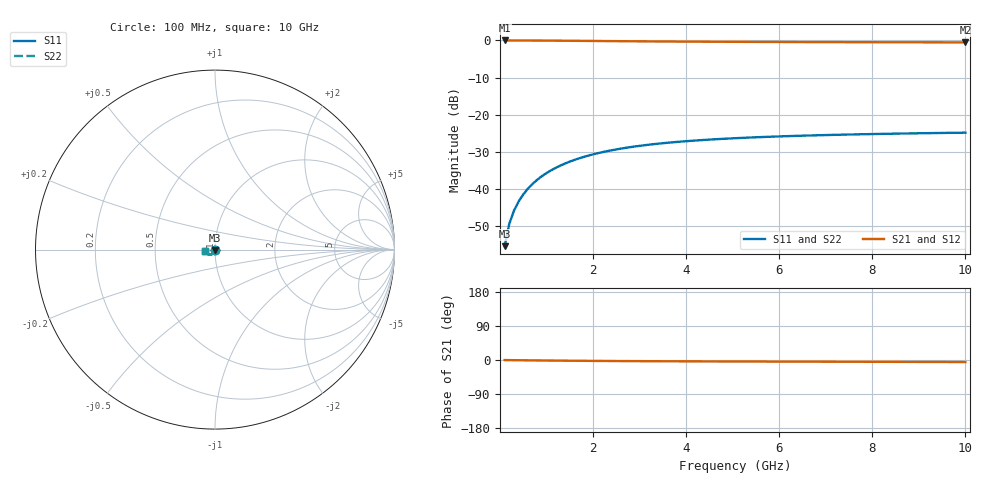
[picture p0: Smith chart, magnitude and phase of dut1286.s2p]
! Touchstone file exported from HFSS 2024.1.0
!  File:  C:/UserFiles/LocalFiles/RDL_TSV_Batchsim/temp_TSV1_1286_1780255668.aedt
!  Generated:  03:32:35 AM Jun  1, 2026
!  Design:  TSV1
!  Project:  temp_TSV1_1286_1780255668
!  Setup:  Setup1
!  Solution:  Sweep
! Variables:
!  dtsv = 13.35um
!  hbump = 3um
!  htsv = 82.93um
!  lrdl = 252.1521522um
!  p = 40
!  p1 = 53.02um
!  t = 500um
!  trdl = 3um
!  wrdl = 24.89489489um
# GHz S MA R 50.000000
! Terminal data exported
! Port[1] = TSV22_T1
! Port[2] = TSV22_T2
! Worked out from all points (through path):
!   100 points, 100 MHz to 10 GHz, reference 50 ohm
!   highest |S21| = 0.00 dB at 100 MHz (marker M1); lowest = -0.5 dB at 10 GHz (marker M2)
!   lowest |S11| = -55.4 dB at 100 MHz (marker M3), VSWR 1.00, Z = 50 - j0.17 ohm
!   |S11| at or under -10 dB: start of sweep to end of sweep
!   |S22| runs from -55.4 to -24.8 dB; largest |S21 - S12| = 7.2e-15
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0.1  0.001702 -88.8  0.9999 -0.1  0.9999 -0.1  0.001702 -88.8
! Gamma 0 0 0 0
! Port Impedance 50 0 50 0
0.2  0.003401 -92.0  0.9997 -0.3  0.9997 -0.3  0.003401 -92.0
0.3  0.005097 -94.2  0.9994 -0.4  0.9994 -0.4  0.005097 -94.2
0.4  0.006785 -96.2  0.999 -0.6  0.999 -0.6  0.006785 -96.2
0.5  0.008456 -98.2  0.9985 -0.7  0.9985 -0.7  0.008456 -98.2
0.6  0.0101 -100.0  0.9979 -0.9  0.9979 -0.9  0.0101 -100.0
0.7  0.01173 -101.9  0.9973 -1.0  0.9973 -1.0  0.01173 -101.9
0.8  0.01332 -103.7  0.9966 -1.1  0.9966 -1.1  0.01332 -103.7
0.9  0.01488 -105.5  0.9958 -1.3  0.9958 -1.3  0.01488 -105.5
1.1  0.01788 -108.9  0.994 -1.5  0.994 -1.5  0.01788 -108.9
1.4  0.02208 -113.7  0.991 -1.8  0.991 -1.8  0.02208 -113.7
1.6  0.02465 -116.8  0.9888 -2.0  0.9888 -2.0  0.02465 -116.8
1.8  0.02706 -119.6  0.9866 -2.2  0.9866 -2.2  0.02706 -119.6
2.1  0.03034 -123.7  0.9832 -2.5  0.9832 -2.5  0.03034 -123.7
2.5  0.03415 -128.6  0.9788 -2.7  0.9788 -2.7  0.03415 -128.6
2.9  0.0374 -133.0  0.9747 -3.0  0.9747 -3.0  0.0374 -133.0
3.4  0.04078 -137.8  0.97 -3.2  0.97 -3.2  0.04078 -137.8
4.2  0.04499 -144.3  0.9637 -3.6  0.9637 -3.6  0.04499 -144.3
5.1  0.04848 -150.2  0.9581 -3.9  0.9581 -3.9  0.04848 -150.2
6.7  0.05268 -158.5  0.951 -4.4  0.951 -4.4  0.05268 -158.5
8.4  0.05553 -165.2  0.946 -4.9  0.946 -4.9  0.05553 -165.2
10  0.05738 -170.3  0.9428 -5.4  0.9428 -5.4  0.05738 -170.3
